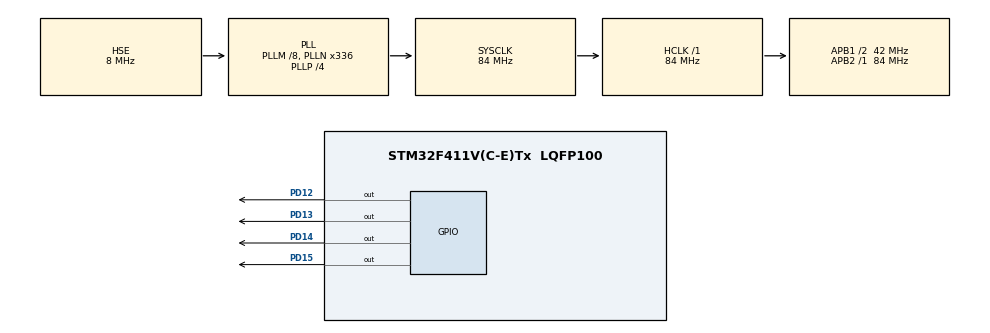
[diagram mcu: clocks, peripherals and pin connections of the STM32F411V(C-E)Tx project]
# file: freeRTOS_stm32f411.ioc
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FREERTOS.Tasks01=defaultTask,0,128,StartDefaultTask,Default,NULL
Mcu.Family=STM32F4
Mcu.Name=STM32F411V(C-E)Tx
Mcu.Package=LQFP100
NVIC.PriorityGroup=NVIC_PRIORITYGROUP_4
PD12.Signal=GPIO_Output
PD13.Signal=GPIO_Output
PD14.Signal=GPIO_Output
PD15.Signal=GPIO_Output
PH0\ -\ OSC_IN.Mode=HSE-External-Oscillator
PH0\ -\ OSC_IN.Signal=RCC_OSC_IN
PH1\ -\ OSC_OUT.Mode=HSE-External-Oscillator
PH1\ -\ OSC_OUT.Signal=RCC_OSC_OUT
ProjectManager.HeapSize=0x200
ProjectManager.StackSize=0x400
ProjectManager.TargetToolchain=MDK-ARM V5
RCC.48MHZClocksFreq_Value=84000000
RCC.AHBFreq_Value=84000000
RCC.APB1CLKDivider=RCC_HCLK_DIV2
RCC.APB1Freq_Value=42000000
RCC.APB1TimFreq_Value=84000000
RCC.APB2Freq_Value=84000000
RCC.APB2TimFreq_Value=84000000
RCC.CortexFreq_Value=84000000
RCC.HCLKFreq_Value=84000000
RCC.HSE_VALUE=8000000
RCC.HSI_VALUE=16000000
RCC.LSE_VALUE=32768
RCC.PLLM=8
RCC.PLLN=336
RCC.PLLP=RCC_PLLP_DIV4
RCC.PLLSourceVirtual=RCC_PLLSOURCE_HSE
RCC.SYSCLKFreq_VALUE=84000000
RCC.SYSCLKSource=RCC_SYSCLKSOURCE_PLLCLK
RCC.VCOOutputFreq_Value=336000000
VP_FREERTOS_VS_ENABLE.Mode=Enabled
board=freeRTOS_stm32f411

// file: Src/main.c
/**
  ******************************************************************************
  * File Name          : main.c
  * Description        : Main program body
  ******************************************************************************
  * This notice applies to any and all portions of this file
  * that are not between comment pairs USER CODE BEGIN and
  * USER CODE END. Other portions of this file, whether
  * inserted by the user or by software development tools
  * are owned by their respective copyright owners.
  *
  * Copyright (c) 2020 STMicroelectronics International N.V.
  * All rights reserved.
  *
  * Redistribution and use in source and binary forms, with or without
  * modification, are permitted, provided that the following conditions are met:
  *
  * 1. Redistribution of source code must retain the above copyright notice,
  *    this list of conditions and the following disclaimer.
  * 2. Redistributions in binary form must reproduce the above copyright notice,
  *    this list of conditions and the following disclaimer in the documentation
  *    and/or other materials provided with the distribution.
  * 3. Neither the name of STMicroelectronics nor the names of other
  *    contributors to this software may be used to endorse or promote products
  *    derived from this software without specific written permission.
  * 4. This software, including modifications and/or derivative works of this
  *    software, must execute solely and exclusively on microcontroller or
  *    microprocessor devices manufactured by or for STMicroelectronics.
  * 5. Redistribution and use of this software other than as permitted under
  *    this license is void and will automatically terminate your rights under
  *    this license.
  *
  * THIS SOFTWARE IS PROVIDED BY STMICROELECTRONICS AND CONTRIBUTORS "AS IS"
  * AND ANY EXPRESS, IMPLIED OR STATUTORY WARRANTIES, INCLUDING, BUT NOT
  * LIMITED TO, THE IMPLIED WARRANTIES OF MERCHANTABILITY, FITNESS FOR A
  * PARTICULAR PURPOSE AND NON-INFRINGEMENT OF THIRD PARTY INTELLECTUAL PROPERTY
  * RIGHTS ARE DISCLAIMED TO THE FULLEST EXTENT PERMITTED BY LAW. IN NO EVENT
  * SHALL STMICROELECTRONICS OR CONTRIBUTORS BE LIABLE FOR ANY DIRECT, INDIRECT,
  * INCIDENTAL, SPECIAL, EXEMPLARY, OR CONSEQUENTIAL DAMAGES (INCLUDING, BUT NOT
  * LIMITED TO, PROCUREMENT OF SUBSTITUTE GOODS OR SERVICES; LOSS OF USE, DATA,
  * OR PROFITS; OR BUSINESS INTERRUPTION) HOWEVER CAUSED AND ON ANY THEORY OF
  * LIABILITY, WHETHER IN CONTRACT, STRICT LIABILITY, OR TORT (INCLUDING
  * NEGLIGENCE OR OTHERWISE) ARISING IN ANY WAY OUT OF THE USE OF THIS SOFTWARE,
  * EVEN IF ADVISED OF THE POSSIBILITY OF SUCH DAMAGE.
  *
  ******************************************************************************
  */
#include "main.h"
#include "stm32f4xx_hal.h"
#include "cmsis_os.h"
#include "semphr.h"

osThreadId defaultTaskHandle;

/* USER CODE BEGIN PV */
/* Private variables ---------------------------------------------------------*/
osThreadId imuTaskHandle;
/* USER CODE END PV */

void SystemClock_Config(void);
static void MX_GPIO_Init(void);
void StartDefaultTask(void const * argument);
static void EXTILine0_Config(void);
void UART_Init(void);
/* USER CODE BEGIN PFP */
/* Private function prototypes -----------------------------------------------*/
void StartImuTask(void const * argument);
void StartDefaultTask(void const * argument);
void vButtonTask(void const * argument);
/* USER CODE END PFP */

/* USER CODE BEGIN 0 */
static xSemaphoreHandle xButtonSemaphore;
/* USER CODE END 0 */
#ifdef __GNUC__
  /* With GCC, small printf (option LD Linker->Libraries->Small printf
     set to 'Yes') calls __io_putchar() */
  #define PUTCHAR_PROTOTYPE int __io_putchar(int ch)
#else
  #define PUTCHAR_PROTOTYPE int fputc(int ch, FILE *f)
#endif /* __GNUC__ */
	UART_HandleTypeDef huart2;
int main(void)
{

  /* MCU Configuration----------------------------------------------------------*/

  /* Reset of all peripherals, Initializes the Flash interface and the Systick. */
  HAL_Init();

  /* Configure the system clock */
  SystemClock_Config();

  /* Initialize all configured peripherals */
  MX_GPIO_Init();
	UART_Init();

	printf("Hello world!");
  /* USER CODE BEGIN 2 */
	EXTILine0_Config();
  /* USER CODE END 2 */

  /* USER CODE BEGIN RTOS_SEMAPHORES */
  /* add semaphores, ... */
		/* Ensure the semaphore is created before it gets used. */
	xButtonSemaphore = xSemaphoreCreateCounting( 10, 0);
  /* USER CODE END RTOS_SEMAPHORES */

  /* Create the thread(s) */
  /* definition and creation of defaultTask */
  osThreadDef(defaultTask, StartDefaultTask, osPriorityNormal, 0, 128);
  defaultTaskHandle = osThreadCreate(osThread(defaultTask), NULL);

  /* USER CODE BEGIN RTOS_THREADS */
  /* add threads, ... */

	osThreadDef(ImuTask, StartImuTask, osPriorityNormal, 0, 128);
  imuTaskHandle = osThreadCreate(osThread(ImuTask), NULL);

	osThreadDef(buttonTask, vButtonTask, configMAX_PRIORITIES - 1, 0, 128);
  imuTaskHandle = osThreadCreate(osThread(buttonTask), NULL);
  /* USER CODE END RTOS_THREADS */

  /* Start scheduler */
  osKernelStart();

  /* We should never get here as control is now taken by the scheduler */

  /* Infinite loop */
  while (1)
  {

  }

}

PUTCHAR_PROTOTYPE
{
  /* Place your implementation of fputc here */
  /* e.g. write a character to the EVAL_COM1 and Loop until the end of transmission */
  HAL_UART_Transmit(&huart2, (uint8_t *)&ch, 1, 0xFFFF);

  return ch;
}

/** System Clock Configuration
*/
void SystemClock_Config(void)
{

  RCC_OscInitTypeDef RCC_OscInitStruct;
  RCC_ClkInitTypeDef RCC_ClkInitStruct;

    /**Configure the main internal regulator output voltage
    */
  __HAL_RCC_PWR_CLK_ENABLE();

  __HAL_PWR_VOLTAGESCALING_CONFIG(PWR_REGULATOR_VOLTAGE_SCALE1);

    /**Initializes the CPU, AHB and APB busses clocks
    */
  RCC_OscInitStruct.OscillatorType = RCC_OSCILLATORTYPE_HSE;
  RCC_OscInitStruct.HSEState = RCC_HSE_ON;
  RCC_OscInitStruct.PLL.PLLState = RCC_PLL_ON;
  RCC_OscInitStruct.PLL.PLLSource = RCC_PLLSOURCE_HSE;
  RCC_OscInitStruct.PLL.PLLM = 8;
  RCC_OscInitStruct.PLL.PLLN = 336;
  RCC_OscInitStruct.PLL.PLLP = RCC_PLLP_DIV4;
  RCC_OscInitStruct.PLL.PLLQ = 4;
  if (HAL_RCC_OscConfig(&RCC_OscInitStruct) != HAL_OK)
  {
    _Error_Handler(__FILE__, __LINE__);
  }

    /**Initializes the CPU, AHB and APB busses clocks
    */
  RCC_ClkInitStruct.ClockType = RCC_CLOCKTYPE_HCLK|RCC_CLOCKTYPE_SYSCLK
                              |RCC_CLOCKTYPE_PCLK1|RCC_CLOCKTYPE_PCLK2;
  RCC_ClkInitStruct.SYSCLKSource = RCC_SYSCLKSOURCE_PLLCLK;
  RCC_ClkInitStruct.AHBCLKDivider = RCC_SYSCLK_DIV1;
  RCC_ClkInitStruct.APB1CLKDivider = RCC_HCLK_DIV2;
  RCC_ClkInitStruct.APB2CLKDivider = RCC_HCLK_DIV1;

  if (HAL_RCC_ClockConfig(&RCC_ClkInitStruct, FLASH_LATENCY_2) != HAL_OK)
  {
    _Error_Handler(__FILE__, __LINE__);
  }

    /**Configure the Systick interrupt time
    */
  HAL_SYSTICK_Config(HAL_RCC_GetHCLKFreq()/1000);

    /**Configure the Systick
    */
  HAL_SYSTICK_CLKSourceConfig(SYSTICK_CLKSOURCE_HCLK);

  /* SysTick_IRQn interrupt configuration */
  HAL_NVIC_SetPriority(SysTick_IRQn, 15, 0);
}

/** Configure pins as
        * Analog
        * Input
        * Output
        * EVENT_OUT
        * EXTI
*/
static void MX_GPIO_Init(void)
{

  GPIO_InitTypeDef GPIO_InitStruct;

  /* GPIO Ports Clock Enable */
  __HAL_RCC_GPIOH_CLK_ENABLE();
  __HAL_RCC_GPIOD_CLK_ENABLE();

  /*Configure GPIO pin Output Level */
  HAL_GPIO_WritePin(GPIOD, GPIO_PIN_12|GPIO_PIN_13|GPIO_PIN_14|GPIO_PIN_15, GPIO_PIN_RESET);

  /*Configure GPIO pins : PD12 PD13 PD14 PD15 */
  GPIO_InitStruct.Pin = GPIO_PIN_12|GPIO_PIN_13|GPIO_PIN_14|GPIO_PIN_15;
  GPIO_InitStruct.Mode = GPIO_MODE_OUTPUT_PP;
  GPIO_InitStruct.Pull = GPIO_NOPULL;
  GPIO_InitStruct.Speed = GPIO_SPEED_FREQ_LOW;
  HAL_GPIO_Init(GPIOD, &GPIO_InitStruct);

}

void HAL_GPIO_EXTI_Callback(uint16_t GPIO_Pin)
{
  if(GPIO_Pin == GPIO_PIN_0)
  {
		BaseType_t sHigherPriorityTaskWoken = pdFALSE;
		xSemaphoreGiveFromISR( xButtonSemaphore, &sHigherPriorityTaskWoken );
		xSemaphoreGiveFromISR( xButtonSemaphore, &sHigherPriorityTaskWoken );
		xSemaphoreGiveFromISR( xButtonSemaphore, &sHigherPriorityTaskWoken );
		if( sHigherPriorityTaskWoken == pdTRUE )
		{
		/* Giving the semaphore unblocked a task, and the priority of the
		unblocked task is higher than the currentlyrunning task - force
		a context switch to ensure that the interrupt returns directly to
		the unblocked (higher priority) task.
		NOTE: The actual macro to use to force a context switch from an
		ISR is dependent on the port. This is the correct macro for the
		Open Watcom DOS port. Other ports may require different syntax.
		Refer to the examples provided for the portbeing used to determine
		the syntax required. */
		portYIELD_FROM_ISR(sHigherPriorityTaskWoken);
		}
  }
}

/* USER CODE BEGIN 4 */
static void EXTILine0_Config(void)
{
  GPIO_InitTypeDef   GPIO_InitStructure;

  /* Enable GPIOA clock */
  __HAL_RCC_GPIOA_CLK_ENABLE();

  /* Configure PA0 pin as input floating */
  GPIO_InitStructure.Mode = GPIO_MODE_IT_FALLING;
  GPIO_InitStructure.Pull = GPIO_NOPULL;
  GPIO_InitStructure.Pin = GPIO_PIN_0;
  HAL_GPIO_Init(GPIOA, &GPIO_InitStructure);

  /* Enable and set EXTI Line0 Interrupt to the lowest priority */
  HAL_NVIC_SetPriority(EXTI0_IRQn, 6, 0);
  HAL_NVIC_EnableIRQ(EXTI0_IRQn);
}
/* USER CODE END 4 */

/* StartDefaultTask function */
void StartDefaultTask(void const * argument)
{

  /* USER CODE BEGIN 5 */
  /* Infinite loop */
  for(;;)
  {
		HAL_GPIO_TogglePin(GPIOD, GPIO_PIN_12);
    osDelay(500);
  }
  /* USER CODE END 5 */
}

void StartImuTask(void const * argument)
{

  /* USER CODE BEGIN 5 */

  /* Infinite loop */
  for(;;)
  {
		HAL_GPIO_TogglePin(GPIOD, GPIO_PIN_13);
    osDelay(1000);
  }
  /* USER CODE END 5 */
}
#define butDEBOUNCE_DELAY	( 200 / portTICK_RATE_MS )
uint16_t toggle_cnt;
void vButtonTask(void const * argument)
{

	xSemaphoreTake( xButtonSemaphore, portMAX_DELAY);
	for( ;; )
	{
		/* Block on the semaphore to wait for an interrupt event.  The semaphore
		is 'given' from vButtonISRHandler() below.  Using portMAX_DELAY as the
		block time will cause the task to block indefinitely provided
		INCLUDE_vTaskSuspend is set to 1 in FreeRTOSConfig.h. */
		xSemaphoreTake( xButtonSemaphore, portMAX_DELAY);

		/* The button must have been pushed for this line to be executed.
		Simply toggle the LED. */
		HAL_GPIO_TogglePin(GPIOD, GPIO_PIN_15);
		toggle_cnt++;
		/* Wait a short time then clear any pending button pushes as a crude
		method of debouncing the switch.  xSemaphoreTake() uses a block time of
		zero this time so it returns immediately rather than waiting for the
		interrupt to occur. */
	//	vTaskDelay( butDEBOUNCE_DELAY );
	//	xSemaphoreTake( xButtonSemaphore, 0 );
	}
}

void UART_Init(void)
{
  huart2.Instance = USART2;
  huart2.Init.BaudRate = 115200;
  huart2.Init.WordLength = UART_WORDLENGTH_8B;
  huart2.Init.StopBits = UART_STOPBITS_1;
  huart2.Init.Parity = UART_PARITY_NONE;
  huart2.Init.Mode = UART_MODE_TX_RX;
  huart2.Init.HwFlowCtl = UART_HWCONTROL_NONE;
  huart2.Init.OverSampling = UART_OVERSAMPLING_16;

  if(HAL_UART_Init(&huart2) != HAL_OK)
  {
    Error_Handler();
  }
}

void _Error_Handler(char * file, int line)
{
  while(1)
  {
  }
}

/************************ (C) COPYRIGHT STMicroelectronics *****END OF FILE****/
